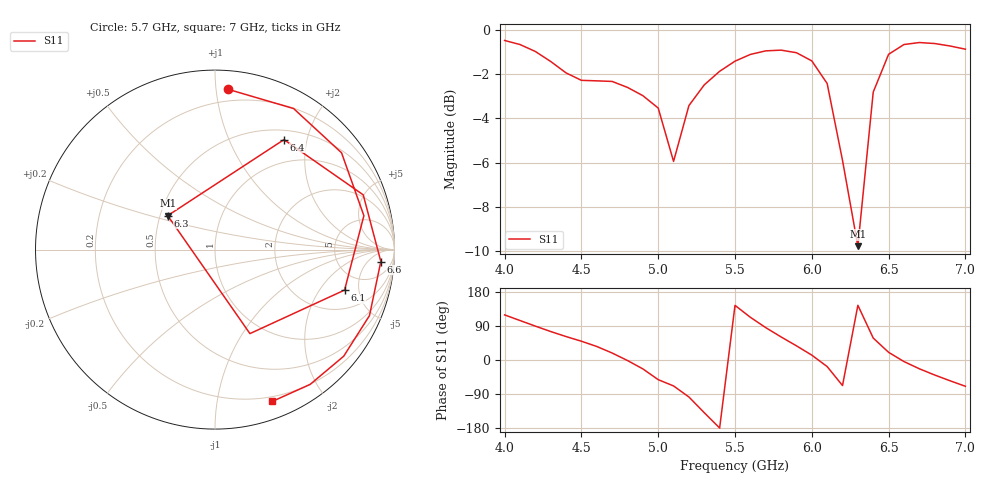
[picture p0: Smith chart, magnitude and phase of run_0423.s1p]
! Touchstone file exported from HFSS 2024.2.0
!  File:  C:/Users/wsak9/Desktop/Sim Fast/Widenad Patch/WP_AI_V1_sweep.aedt
!  Generated:  09:19:22 AM Oct 14, 2026
!  Design:  A1_model
!  Project:  WP_AI_V1_sweep
!  Setup:  Setup1
!  Solution:  Sweep
! Variables:
!  Air_gap = 1.78mm
!  Curve_Amp1 = 2.44
!  Curve_len1 = 1
!  Curve_pos = 9.645mm
!  Extra = 7.42mm
!  H_sub = 0.79mm
!  L_Patch = 15.29mm
!  L_Patch1 = 21.35mm
!  Sx = 3.21mm
!  Sy = 2.12mm
!  WS = 0.82mm
!  W_Patch = 15.64mm
!  W_Patch1 = 13.93mm
!Data is not renormalized
# GHz S MA
! Terminal data exported
! Port[1] = 1
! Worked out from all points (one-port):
!   31 points, 4 GHz to 7 GHz, reference per port
!   lowest |S11| = -9.8 dB at 6.3 GHz (marker M1), VSWR 1.96
!   |S11| at or under -10 dB: nowhere
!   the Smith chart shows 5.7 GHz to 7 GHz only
!   S11 on the Smith chart (normalised r, x): 5.7 GHz: 0.12, +1.08; 6.1 GHz: 3.34, -3.52; 6.3 GHz: 0.55, +0.23; 6.4 GHz: 0.63, +1.62; 6.6 GHz: 14, -13; 7 GHz: 0.15, -1.43
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4  0.9461 119.0
4.1  0.9263 104.2
4.2  0.8935 89.4
4.4  0.7992 61.9
4.6  0.7668 35.7
4.7  0.7645 18.4
4.8  0.741 -1.4
4.9  0.7099 -23.5
5  0.6656 -51.9
5.1  0.5042 -68.5
5.2  0.6741 -97.6
5.3  0.751 -139.1
5.4  0.8058 -179.5
5.5  0.8494 144.2
5.6  0.8798 112.7
5.7  0.8963 85.4
5.8  0.8996 60.9
5.9  0.8877 37.4
6  0.8507 12.8
6.1  0.7562 -17.3
6.2  0.5069 -67.4
6.3  0.3244 144.3
6.4  0.7233 57.9
6.5  0.8804 20.3
6.6  0.9263 -4.1
6.7  0.936 -23.1
6.8  0.9311 -39.6
7  0.904 -69.3
